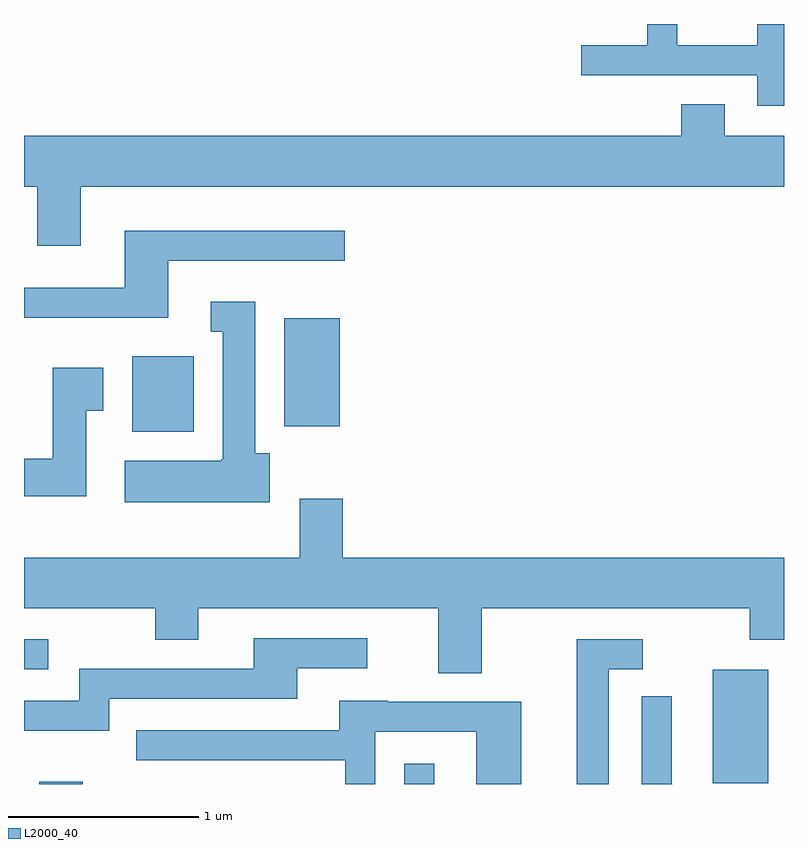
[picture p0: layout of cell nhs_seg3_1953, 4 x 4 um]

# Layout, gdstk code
import gdstk
lib = gdstk.Library(unit=1e-6, precision=1e-09)
def R(c, l, rs):  # rectangles x0, y0, x1, y1
    for r in rs: c.add(gdstk.rectangle(r[:2], r[2:], *l))
def P(c, l, *ps):  # polygons
    for p in ps: c.add(gdstk.Polygon(p, *l))
L2000_40 = (2000, 40)

nhs_seg3_1953 = lib.new_cell('nhs_seg3_1953')
R(nhs_seg3_1953, L2000_40, [(241.691,1213.892,241.919,1213.904), (243.611,1213.892,243.769,1213.998), (245.236,1213.896,245.529,1214.494), (241.611,1214.496,241.738,1214.654), (242.181,1215.746,242.504,1216.144), (242.981,1215.776,243.274,1216.344)])
P(nhs_seg3_1953, L2000_40, [(245.611,1217.892),(245.471,1217.892),(245.471,1217.779),(245.049,1217.779),(245.049,1217.892),(244.891,1217.892),(244.891,1217.779),(244.543,1217.779),(244.543,1217.621),(245.471,1217.621),(245.471,1217.461),(245.611,1217.461)],
  [(241.909,1217.036),(245.611,1217.036),(245.611,1217.304),(245.299,1217.304),(245.299,1217.469),(245.071,1217.469),(245.071,1217.304),(241.611,1217.304),(241.611,1217.036),(241.681,1217.036),(241.681,1216.726),(241.909,1216.726)],
  [(242.369,1216.646),(243.298,1216.646),(243.298,1216.804),(242.141,1216.804),(242.141,1216.504),(241.611,1216.504),(241.611,1216.346),(242.369,1216.346)],
  [(242.904,1215.634),(242.829,1215.634),(242.829,1216.429),(242.593,1216.429),(242.593,1216.271),(242.656,1216.271),(242.656,1215.6),(242.65,1215.6),(242.65,1215.594),(242.141,1215.594),(242.141,1215.376),(242.904,1215.376)],
  [(241.939,1215.856),(242.029,1215.856),(242.029,1216.084),(241.761,1216.084),(241.761,1215.604),(241.611,1215.604),(241.611,1215.406),(241.939,1215.406)],
  [(243.289,1215.394),(243.061,1215.394),(243.061,1215.084),(241.611,1215.084),(241.611,1214.816),(242.301,1214.816),(242.301,1214.651),(242.529,1214.651),(242.529,1214.816),(243.791,1214.816),(243.791,1214.476),(244.019,1214.476),(244.019,1214.816),(245.431,1214.816),(245.431,1214.651),(245.611,1214.651),(245.611,1215.084),(243.289,1215.084)],
  [(242.059,1214.341),(243.049,1214.341),(243.049,1214.501),(243.418,1214.501),(243.418,1214.659),(242.821,1214.659),(242.821,1214.499),(241.901,1214.499),(241.901,1214.329),(241.611,1214.329),(241.611,1214.171),(242.059,1214.171)],
  [(244.689,1214.496),(244.868,1214.496),(244.868,1214.654),(244.521,1214.654),(244.521,1213.892),(244.689,1213.892)],
  [(245.019,1213.897),(245.019,1214.353),(244.861,1214.353),(244.861,1213.892),(245.024,1213.892)],
  [(243.459,1214.166),(243.991,1214.166),(243.991,1213.892),(244.229,1213.892),(244.229,1214.324),(243.525,1214.324),(243.525,1214.329),(243.271,1214.329),(243.271,1214.174),(242.203,1214.174),(242.203,1214.016),(243.301,1214.016),(243.301,1213.892),(243.459,1213.892)])

lib.write_gds('nhs_seg3_1953.gds')
